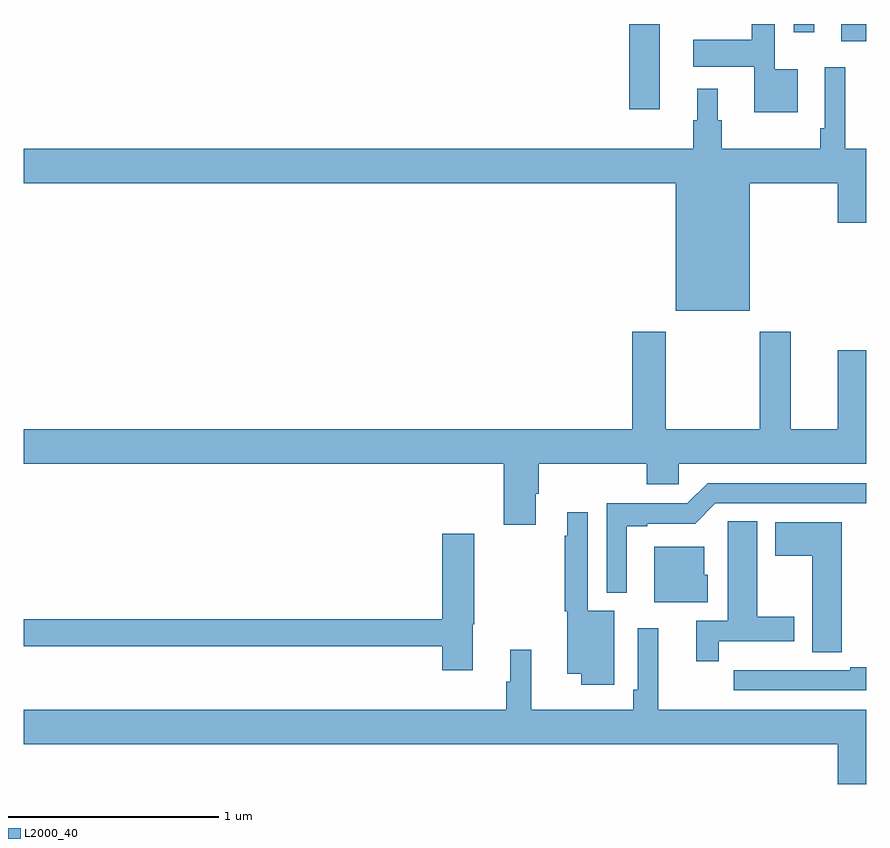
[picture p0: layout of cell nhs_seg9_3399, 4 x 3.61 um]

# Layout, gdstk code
import gdstk
lib = gdstk.Library(unit=1e-6, precision=1e-09)
def R(c, l, rs):  # rectangles x0, y0, x1, y1
    for r in rs: c.add(gdstk.rectangle(r[:2], r[2:], *l))
def P(c, l, *ps):  # polygons
    for p in ps: c.add(gdstk.Polygon(p, *l))
L2000_40 = (2000, 40)

nhs_seg9_3399 = lib.new_cell('nhs_seg9_3399')
R(nhs_seg9_3399, L2000_40, [(307.874,1206.096,308.02,1206.5), (308.882,1206.419,309,1206.5), (308.655,1206.462,308.752,1206.5)])
P(nhs_seg9_3399, L2000_40, [(308.674,1206.286),(308.565,1206.286),(308.565,1206.5),(308.457,1206.5),(308.457,1206.426),(308.178,1206.426),(308.178,1206.296),(308.468,1206.296),(308.468,1206.08),(308.674,1206.08)],
  [(308.296,1206.042),(308.296,1206.193),(308.198,1206.193),(308.198,1206.042),(308.179,1206.042),(308.179,1205.908),(305,1205.908),(305,1205.744),(308.096,1205.744),(308.096,1205.138),(308.446,1205.138),(308.446,1205.744),(308.864,1205.744),(308.864,1205.556),(309,1205.556),(309,1205.908),(308.9,1205.908),(308.9,1206.295),(308.802,1206.295),(308.802,1206.004),(308.782,1206.004),(308.782,1205.908),(308.315,1205.908),(308.315,1206.042)],
  [(305,1204.412),(307.28,1204.412),(307.28,1204.122),(307.432,1204.122),(307.432,1204.27),(307.445,1204.27),(307.445,1204.412),(307.958,1204.412),(307.958,1204.314),(308.109,1204.314),(308.109,1204.412),(309,1204.412),(309,1204.951),(308.864,1204.951),(308.864,1204.576),(308.641,1204.576),(308.641,1205.038),(308.494,1205.038),(308.494,1204.576),(308.049,1204.576),(308.049,1205.038),(307.889,1205.038),(307.889,1204.576),(305,1204.576)],
  [(307.864,1204.116),(307.96,1204.116),(307.96,1204.128),(308.187,1204.128),(308.283,1204.224),(309,1204.224),(309,1204.32),(308.247,1204.32),(308.151,1204.224),(307.767,1204.224),(307.767,1203.8),(307.864,1203.8)],
  [(307.804,1203.715),(307.677,1203.715),(307.677,1204.183),(307.58,1204.183),(307.58,1204.07),(307.569,1204.07),(307.569,1203.711),(307.58,1203.711),(307.58,1203.416),(307.646,1203.416),(307.646,1203.363),(307.804,1203.363)],
  [(308.3,1203.57),(308.659,1203.57),(308.659,1203.687),(308.482,1203.687),(308.482,1204.139),(308.343,1204.139),(308.343,1204.028),(308.342,1204.028),(308.342,1203.666),(308.192,1203.666),(308.192,1203.474),(308.3,1203.474)],
  [(308.883,1203.625),(308.884,1203.625),(308.884,1204.135),(308.567,1204.135),(308.567,1203.976),(308.744,1203.976),(308.744,1203.517),(308.883,1203.517)],
  [(307.132,1203.651),(307.14,1203.651),(307.14,1204.081),(306.986,1204.081),(306.986,1203.674),(305,1203.674),(305,1203.546),(306.986,1203.546),(306.986,1203.432),(307.132,1203.432)],
  [(308.248,1203.885),(308.23,1203.885),(308.23,1204.018),(307.994,1204.018),(307.994,1203.755),(308.248,1203.755)],
  [(309,1203.244),(308.012,1203.244),(308.012,1203.631),(307.914,1203.631),(307.914,1203.34),(307.894,1203.34),(307.894,1203.244),(307.41,1203.244),(307.41,1203.529),(307.31,1203.529),(307.31,1203.378),(307.291,1203.378),(307.291,1203.244),(305,1203.244),(305,1203.08),(308.864,1203.08),(308.864,1202.892),(309,1202.892)],
  [(309,1203.447),(308.924,1203.447),(308.924,1203.432),(308.648,1203.432),(308.648,1203.433),(308.482,1203.433),(308.482,1203.432),(308.37,1203.432),(308.37,1203.336),(309,1203.336)])

lib.write_gds('nhs_seg9_3399.gds')
